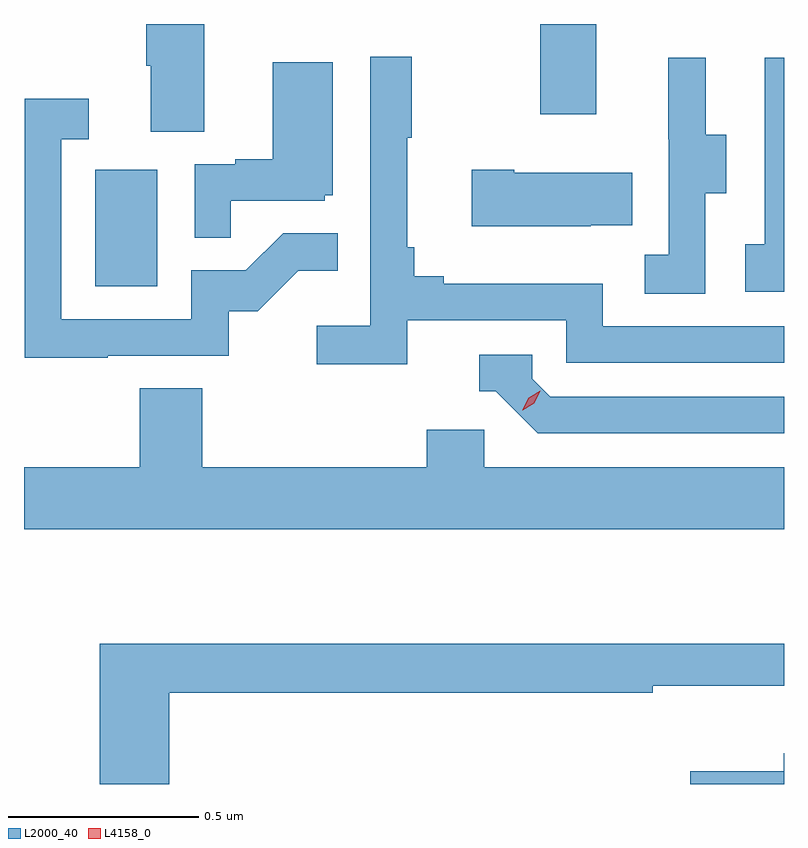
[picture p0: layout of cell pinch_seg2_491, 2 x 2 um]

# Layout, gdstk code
import gdstk
lib = gdstk.Library(unit=1e-6, precision=1e-09)
def R(c, l, rs):  # rectangles x0, y0, x1, y1
    for r in rs: c.add(gdstk.rectangle(r[:2], r[2:], *l))
def P(c, l, *ps):  # polygons
    for p in ps: c.add(gdstk.Polygon(p, *l))
L2000_40 = (2000, 40)
L4158_0 = (4158, 0)

pinch_seg2_491 = lib.new_cell('pinch_seg2_491')
R(pinch_seg2_491, L2000_40, [(941.432,600.324,941.596,600.631), (942.604,600.777,942.751,601.014)])
P(pinch_seg2_491, L2000_40, [(941.719,601.014),(941.567,601.014),(941.567,600.904),(941.579,600.904),(941.579,600.73),(941.719,600.73)],
  [(942.254,600.234),(942.672,600.234),(942.672,600.123),(943.245,600.123),(943.245,600.219),(942.768,600.219),(942.768,600.331),(942.349,600.331),(942.349,600.35),(942.272,600.35),(942.272,600.427),(942.253,600.427),(942.253,600.715),(942.265,600.715),(942.265,600.928),(942.156,600.928),(942.156,600.22),(942.015,600.22),(942.015,600.118),(942.254,600.118)],
  [(943.038,600.568),(943.093,600.568),(943.093,600.723),(943.039,600.723),(943.039,600.925),(942.941,600.925),(942.941,600.711),(942.942,600.711),(942.942,600.407),(942.879,600.407),(942.879,600.304),(943.038,600.304)],
  [(943.245,600.925),(943.194,600.925),(943.194,600.434),(943.143,600.434),(943.143,600.309),(943.245,600.309)],
  [(941.789,600.549),(942.036,600.549),(942.036,600.564),(942.058,600.564),(942.058,600.913),(941.9,600.913),(941.9,600.658),(941.801,600.658),(941.801,600.645),(941.694,600.645),(941.694,600.451),(941.789,600.451)],
  [(941.465,600.141),(941.784,600.141),(941.784,600.258),(941.86,600.258),(941.967,600.365),(942.071,600.365),(942.071,600.464),(941.927,600.464),(941.829,600.366),(941.685,600.366),(941.685,600.237),(941.343,600.237),(941.343,600.711),(941.416,600.711),(941.416,600.817),(941.247,600.817),(941.247,600.136),(941.465,600.136)],
  [(942.737,600.485),(942.845,600.485),(942.845,600.622),(942.535,600.622),(942.535,600.63),(942.423,600.63),(942.423,600.482),(942.737,600.482)],
  [(943.245,600.033),(942.63,600.033),(942.582,600.081),(942.582,600.144),(942.443,600.144),(942.443,600.048),(942.486,600.048),(942.597,599.937),(943.245,599.937)],
  [(943.245,599.848),(942.456,599.848),(942.456,599.946),(942.305,599.946),(942.305,599.848),(941.714,599.848),(941.714,600.056),(941.549,600.056),(941.549,599.848),(941.245,599.848),(941.245,599.684),(943.245,599.684)],
  [(941.627,599.254),(942.899,599.254),(942.899,599.272),(943.245,599.272),(943.245,599.383),(941.444,599.383),(941.444,599.014),(941.627,599.014)],
  [(943.245,599.095),(943.244,599.095),(943.244,599.047),(942.998,599.047),(942.998,599.014),(943.245,599.014)])
P(pinch_seg2_491, L4158_0, [(942.556,599.997),(942.556,599.997),(942.573,600.03),(942.604,600.049),(942.604,600.049),(942.604,600.049),(942.588,600.016),(942.557,599.997)])

lib.write_gds('pinch_seg2_491.gds')
